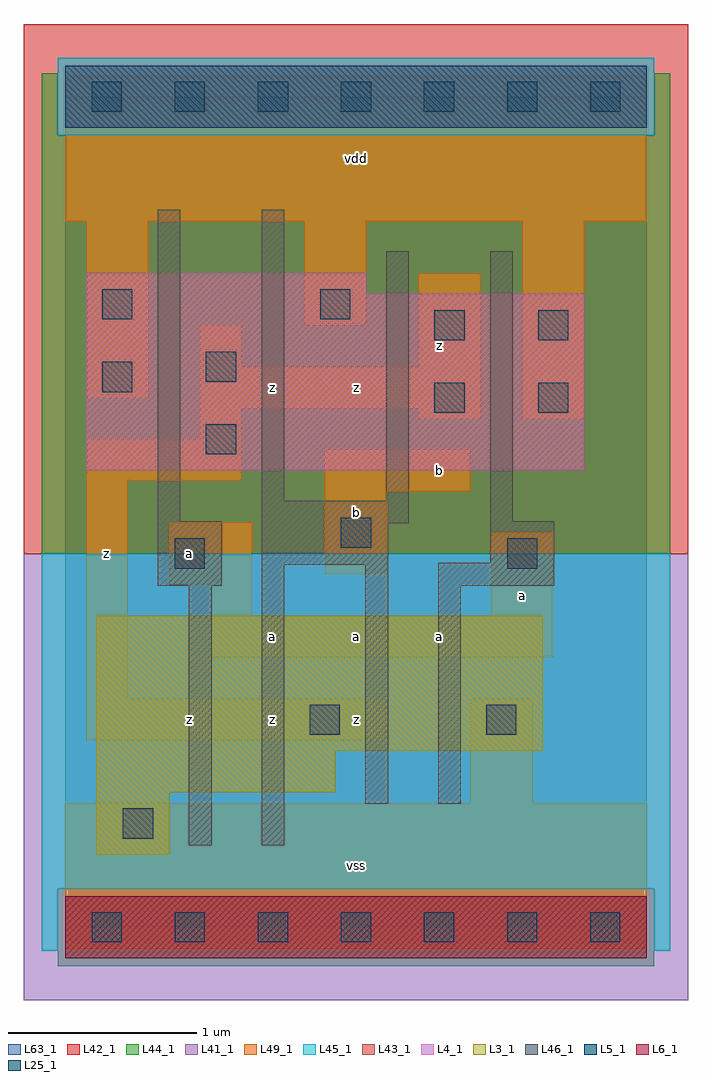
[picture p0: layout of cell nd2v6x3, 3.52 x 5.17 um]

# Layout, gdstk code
import gdstk
lib = gdstk.Library(unit=1e-6, precision=1e-09)
def R(c, l, rs):  # rectangles x0, y0, x1, y1
    for r in rs: c.add(gdstk.rectangle(r[:2], r[2:], *l))
def A(c, l, x, y, w, h, nx, ny, dx, dy):  # array of equal rectangles
    R(c, l, [(x+i*dx, y+j*dy, x+i*dx+w, y+j*dy+h) for i in range(nx) for j in range(ny)])
L3_1 = (3, 1)
L4_1 = (4, 1)
L5_1 = (5, 1)
L6_1 = (6, 1)
L25_1 = (25, 1)
L41_1 = (41, 1)
L42_1 = (42, 1)
L43_1 = (43, 1)
L44_1 = (44, 1)
L45_1 = (45, 1)
L46_1 = (46, 1)
L49_1 = (49, 1)
L63_1 = (63, 1)

nd2v6x3 = lib.new_cell('nd2v6x3')
R(nd2v6x3, L3_1, [(0.165,0.385,0.55,0.715), (0.165,0.715,1.43,0.935), (0.165,0.935,2.53,1.65)])
R(nd2v6x3, L4_1, [(0.11,2.42,2.75,3.355), (0.11,3.355,1.595,3.465)])
R(nd2v6x3, L5_1, [(0,4.235,3.08,4.565)])
R(nd2v6x3, L6_1, [(0,-0.165,3.08,0.165)])
A(nd2v6x3, L25_1, 0.14, -0.08, 0.16, 0.16, 7, 2, 0.44, 4.4)
R(nd2v6x3, L25_1, [(0.305,0.47,0.465,0.63), (1.295,1.02,1.455,1.18), (2.23,1.02,2.39,1.18), (0.58,1.9,0.74,2.06), (2.34,1.9,2.5,2.06), (1.46,2.01,1.62,2.17), (0.745,2.505,0.905,2.665), (1.955,2.725,2.115,2.885), (2.505,2.725,2.665,2.885), (0.195,2.835,0.355,2.995), (0.745,2.89,0.905,3.05), (1.955,3.11,2.115,3.27), (2.505,3.11,2.665,3.27), (0.195,3.22,0.355,3.38), (1.35,3.22,1.51,3.38)])
R(nd2v6x3, L41_1, [(-0.22,-0.385,3.3,1.98)])
R(nd2v6x3, L42_1, [(-0.22,1.98,3.3,4.785)])
R(nd2v6x3, L43_1, [(0,-0.165,3.08,0.165), (0.165,0.385,0.55,0.715), (0.165,0.715,1.43,0.935), (0.165,0.935,2.53,1.65), (0.11,2.42,2.75,3.355), (0.11,3.355,1.595,3.465), (0,4.235,3.08,4.565)])
R(nd2v6x3, L44_1, [(-0.04,-0.205,3.12,0.205), (-0.125,1.98,3.205,4.195), (-0.125,4.195,-0.04,4.525), (3.12,4.195,3.205,4.525)])
R(nd2v6x3, L45_1, [(-0.125,-0.125,-0.04,0.205), (3.12,-0.125,3.205,0.205), (-0.125,0.205,3.205,1.98), (-0.04,4.195,3.12,4.605)])
R(nd2v6x3, L46_1, [(0.655,0.435,0.775,1.81), (1.04,0.435,1.16,1.92), (1.59,0.655,1.71,1.92), (1.975,0.655,2.095,1.81), (0.49,1.81,0.83,2.15), (1.975,1.81,2.59,1.93), (1.04,1.92,1.71,2.14), (2.25,1.93,2.59,2.15), (1.04,2.14,1.82,2.26), (0.49,2.15,0.61,3.8), (2.25,2.15,2.37,3.58), (1.04,2.26,1.16,3.8), (1.7,2.26,1.82,3.58)])
R(nd2v6x3, L49_1, [(0,-0.11,3.08,0.66), (2.145,0.66,2.475,1.21), (0.11,0.99,1.705,1.21), (0.11,1.21,0.33,2.365), (0.77,1.43,2.585,1.65), (0.77,1.65,0.99,1.815), (2.255,1.65,2.585,2.09), (0.55,1.815,0.99,2.145), (1.375,1.87,1.705,2.31), (1.375,2.31,2.145,2.53), (0.11,2.365,0.935,2.585), (0.715,2.585,0.935,2.75), (1.87,2.695,2.2,2.75), (2.42,2.695,2.75,3.74), (0.715,2.75,2.2,2.97), (0.11,2.805,0.44,3.74), (0.715,2.97,0.935,3.19), (1.87,2.97,2.2,3.465), (1.265,3.19,1.595,3.74), (0,3.74,3.08,4.51)])
R(nd2v6x3, L63_1, [(0,0,3.08,4.4)])
nd2v6x3.add(gdstk.Label('z', (0.22,1.98), layer=49, texttype=1))
nd2v6x3.add(gdstk.Label('z', (0.66,1.1), layer=49, texttype=1))
nd2v6x3.add(gdstk.Label('a', (0.66,1.98), layer=49, texttype=1))
nd2v6x3.add(gdstk.Label('vss', (1.54,0.33), layer=49, texttype=1))
nd2v6x3.add(gdstk.Label('z', (1.1,1.1), layer=49, texttype=1))
nd2v6x3.add(gdstk.Label('a', (1.1,1.54), layer=49, texttype=1))
nd2v6x3.add(gdstk.Label('a', (1.54,1.54), layer=49, texttype=1))
nd2v6x3.add(gdstk.Label('z', (1.54,1.1), layer=49, texttype=1))
nd2v6x3.add(gdstk.Label('b', (1.54,2.2), layer=49, texttype=1))
nd2v6x3.add(gdstk.Label('z', (1.54,2.86), layer=49, texttype=1))
nd2v6x3.add(gdstk.Label('z', (1.1,2.86), layer=49, texttype=1))
nd2v6x3.add(gdstk.Label('vdd', (1.54,4.07), layer=49, texttype=1))
nd2v6x3.add(gdstk.Label('a', (1.98,1.54), layer=49, texttype=1))
nd2v6x3.add(gdstk.Label('a', (2.42,1.76), layer=49, texttype=1))
nd2v6x3.add(gdstk.Label('b', (1.98,2.42), layer=49, texttype=1))
nd2v6x3.add(gdstk.Label('z', (1.98,3.08), layer=49, texttype=1))

lib.write_gds('nd2v6x3.gds')
